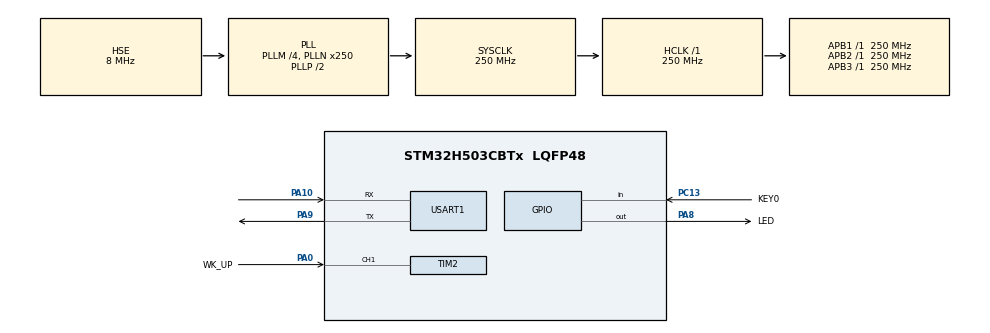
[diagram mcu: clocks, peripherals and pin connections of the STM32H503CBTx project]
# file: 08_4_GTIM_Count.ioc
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BOOTPATH.BootPathName=LEGACY
BOOTPATH.UserSelectedBootPath=LEGACY
Mcu.Family=STM32H5
Mcu.Name=STM32H503CBTx
Mcu.Package=LQFP48
NVIC.PriorityGroup=NVIC_PRIORITYGROUP_2
NVIC.TIM2_IRQn=true\:2\:1\:true\:false\:true\:true\:true\:true
NVIC.USART1_IRQn=true\:2\:2\:true\:false\:true\:true\:true\:true
PA0.GPIO_Label=WK_UP
PA0.GPIO_PuPd=GPIO_PULLDOWN
PA0.Signal=S_TIM2_CH1
PA10.GPIO_ModeDefaultPP=GPIO_MODE_AF_PP
PA10.GPIO_Speed=GPIO_SPEED_FREQ_LOW
PA10.Mode=Asynchronous
PA10.Signal=USART1_RX
PA8.GPIO_Label=LED
PA8.GPIO_PuPd=GPIO_PULLUP
PA8.GPIO_Speed=GPIO_SPEED_FREQ_HIGH
PA8.PinState=GPIO_PIN_SET
PA8.Signal=GPIO_Output
PA9.GPIO_Speed=GPIO_SPEED_FREQ_HIGH
PA9.Mode=Asynchronous
PA9.Signal=USART1_TX
PC13.GPIO_Label=KEY0
PC13.GPIO_PuPd=GPIO_PULLDOWN
PC13.Signal=GPIO_Input
PC14-OSC32_IN(OSC32_IN).Mode=LSE-External-Oscillator
PC14-OSC32_IN(OSC32_IN).Signal=RCC_OSC32_IN
PC15-OSC32_OUT(OSC32_OUT).Mode=LSE-External-Oscillator
PC15-OSC32_OUT(OSC32_OUT).Signal=RCC_OSC32_OUT
PH0-OSC_IN(PH0).Mode=HSE-External-Oscillator
PH0-OSC_IN(PH0).Signal=RCC_OSC_IN
PH1-OSC_OUT(PH1).Mode=HSE-External-Oscillator
PH1-OSC_OUT(PH1).Signal=RCC_OSC_OUT
ProjectManager.HeapSize=0x200
ProjectManager.StackSize=0x400
ProjectManager.TargetToolchain=STM32CubeIDE
RCC.ADCFreq_Value=250000000
RCC.AHBFreq_Value=250000000
RCC.APB1Freq_Value=250000000
RCC.APB1TimFreq_Value=250000000
RCC.APB2Freq_Value=250000000
RCC.APB2TimFreq_Value=250000000
RCC.APB3Freq_Value=250000000
RCC.CSI_VALUE=4000000
RCC.CortexFreq_Value=250000000
RCC.EPOD_VALUE=8000000
RCC.HCLKFreq_Value=250000000
RCC.HSE_VALUE=8000000
RCC.HSI48_VALUE=48000000
RCC.HSI_VALUE=64000000
RCC.LSIRC_VALUE=32000
RCC.PLLM=4
RCC.PLLN=250
RCC.PLLSourceVirtual=RCC_PLL1_SOURCE_HSE
RCC.SYSCLKFreq_VALUE=250000000
RCC.SYSCLKSource=RCC_SYSCLKSOURCE_PLLCLK
RCC.USBFreq_Value=48000000
RCC.VCOOutputFreq_Value=500000000
SH.S_TIM2_CH1.0=TIM2_CH1,TriggerSource_TI1FP1
TIM2.AutoReloadPreload=TIM_AUTORELOAD_PRELOAD_ENABLE
TIM2.Dithering=Disable
TIM2.PeriodNoDither=65535
USART1.VirtualMode=VM_ASYNC
VP_BOOTPATH_VS_BOOTPATH.Mode=BP_Activate
VP_ICACHE_VS_ICACHE.Mode=DefaultMode
VP_MEMORYMAP_VS_MEMORYMAP.Mode=CurAppReg
VP_PWR_VS_DBSignals.Mode=DisableDeadBatterySignals
VP_PWR_VS_LPOM.Mode=PowerOptimisation
VP_PWR_VS_SECSignals.Mode=Security/Privilege
VP_TIM2_VS_ControllerModeClock.Mode=Clock Mode
board=custom

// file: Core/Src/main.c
/**
 ****************************************************************************************************
 * @file        main.c
 * @author      ALIENTEK
 * @brief       General-purpose timer pulse count code
 * @license     Copyright (C) 2012-2024, ALIENTEK
 ****************************************************************************************************
 * @attention
 *
 * platform     : ALIENTEK M48-STM32H503 board
 * website      : www.alientek.com
 * forum        : www.openedv.com/forum.php
 *
 * change logs  ：
 * version      data         notes
 * V1.0         20240309     the first version
 *
 ****************************************************************************************************
 */

/* USER CODE BEGIN Header */

/* USER CODE END Header */
#include "main.h"
#include "icache.h"
#include "memorymap.h"
#include "tim.h"
#include "usart.h"
#include "gpio.h"

/* USER CODE BEGIN Includes */
#include "../../BSP/LED/led.h"
#include "../../BSP/KEY/key.h"
/* USER CODE END Includes */

void SystemClock_Config(void);

/* USER CODE BEGIN 0 */
/**
 * @brief   Displays information about the experiment
 * @param   None
 * @retval  None
 */
void stm32h503cb_show_mesg(void)
{
	/* The serial port outputs the experimental information */
	printf("\n");
	printf("********************************\r\n");
	printf("STM32H503\r\n");
	printf("GTIM Pulse Count Test\r\n");
	printf("ATOM@ALIENTEK\r\n");
	printf("********************************\r\n");
	printf("\r\n");
}
/* USER CODE END 0 */

int main(void)
{
  /* USER CODE BEGIN 1 */
  uint32_t curcnt = 0;
  uint32_t oldcnt = 0;
  uint8_t key = 0;
  uint8_t t = 0;
  /* USER CODE END 1 */

  /* MCU Configuration--------------------------------------------------------*/

  /* Reset of all peripherals, Initializes the Flash interface and the Systick. */
  HAL_Init();

  /* Configure the system clock */
  SystemClock_Config();

  /* Initialize all configured peripherals */
  MX_GPIO_Init();
  MX_ICACHE_Init();
  MX_USART1_UART_Init();
  MX_TIM2_Init();
  /* USER CODE BEGIN 2 */
  stm32h503cb_show_mesg();
  gtim_timx_cnt_chy_restart();            /* Restart counting. */
  /* USER CODE END 2 */

  /* Infinite loop */
  /* USER CODE BEGIN WHILE */
  while (1)
  {
	  key = key_scan(0);                      /* scan key */

	  if (key == KEY0_PRES)                   /* KEY0 is pressed to restart the count */
	  {
	  	 gtim_timx_cnt_chy_restart();         /* Restart counting. */
	  }

	  curcnt = gtim_timx_cnt_chy_get_count(); /* Getting the count. */

	  if (oldcnt != curcnt)
	  {
	  	 oldcnt = curcnt;
	  	 printf("CNT:%lu\r\n", oldcnt);       /* Print the number of pulses. */
	  }

	  t++;

	  if (t > 20)                             /* Enter once in 200ms. */
	  {
	  	 t = 0;
	     LED_TOGGLE();                        /* LED blinks to prompt the program to run */
	  }

	  HAL_Delay(10);                          /* delay 10ms */
    /* USER CODE END WHILE */

  }
}

void SystemClock_Config(void)
{
  RCC_OscInitTypeDef RCC_OscInitStruct = {0};
  RCC_ClkInitTypeDef RCC_ClkInitStruct = {0};

  /** Configure the main internal regulator output voltage
  */
  __HAL_PWR_VOLTAGESCALING_CONFIG(PWR_REGULATOR_VOLTAGE_SCALE0);

  while(!__HAL_PWR_GET_FLAG(PWR_FLAG_VOSRDY)) {}

  /** Initializes the RCC Oscillators according to the specified parameters
  * in the RCC_OscInitTypeDef structure.
  */
  RCC_OscInitStruct.OscillatorType = RCC_OSCILLATORTYPE_HSE;
  RCC_OscInitStruct.HSEState = RCC_HSE_ON;
  RCC_OscInitStruct.PLL.PLLState = RCC_PLL_ON;
  RCC_OscInitStruct.PLL.PLLSource = RCC_PLL1_SOURCE_HSE;
  RCC_OscInitStruct.PLL.PLLM = 4;
  RCC_OscInitStruct.PLL.PLLN = 250;
  RCC_OscInitStruct.PLL.PLLP = 2;
  RCC_OscInitStruct.PLL.PLLQ = 2;
  RCC_OscInitStruct.PLL.PLLR = 2;
  RCC_OscInitStruct.PLL.PLLRGE = RCC_PLL1_VCIRANGE_1;
  RCC_OscInitStruct.PLL.PLLVCOSEL = RCC_PLL1_VCORANGE_WIDE;
  RCC_OscInitStruct.PLL.PLLFRACN = 0;
  if (HAL_RCC_OscConfig(&RCC_OscInitStruct) != HAL_OK)
  {
    Error_Handler();
  }

  /** Initializes the CPU, AHB and APB buses clocks
  */
  RCC_ClkInitStruct.ClockType = RCC_CLOCKTYPE_HCLK|RCC_CLOCKTYPE_SYSCLK
                              |RCC_CLOCKTYPE_PCLK1|RCC_CLOCKTYPE_PCLK2
                              |RCC_CLOCKTYPE_PCLK3;
  RCC_ClkInitStruct.SYSCLKSource = RCC_SYSCLKSOURCE_PLLCLK;
  RCC_ClkInitStruct.AHBCLKDivider = RCC_SYSCLK_DIV1;
  RCC_ClkInitStruct.APB1CLKDivider = RCC_HCLK_DIV1;
  RCC_ClkInitStruct.APB2CLKDivider = RCC_HCLK_DIV1;
  RCC_ClkInitStruct.APB3CLKDivider = RCC_HCLK_DIV1;

  if (HAL_RCC_ClockConfig(&RCC_ClkInitStruct, FLASH_LATENCY_5) != HAL_OK)
  {
    Error_Handler();
  }
}

void Error_Handler(void)
{
  __disable_irq();
  while (1)
  {
  }
}
